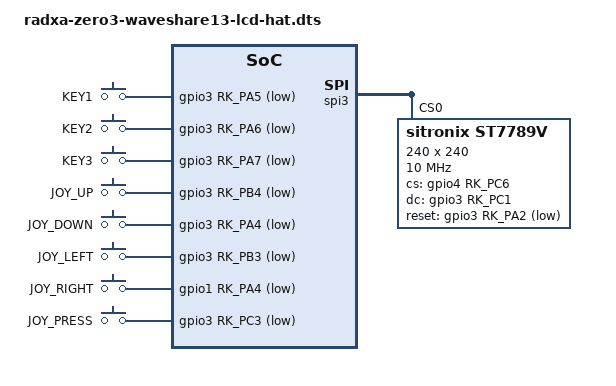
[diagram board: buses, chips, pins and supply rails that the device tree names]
/dts-v1/;
/plugin/;

#include <dt-bindings/gpio/gpio.h>
#include <dt-bindings/pinctrl/rockchip.h>
#include <dt-bindings/interrupt-controller/irq.h>

/ {
	metadata {
		title = "Enable Waveshare 1.3inch LCD HAT";
		compatible = "radxa,zero3";
		category = "misc";
		exclusive = "GPIO4_C3", "GPIO4_C2", "GPIO4_C6", "GPIO3_C1", "GPIO3_B2", "GPIO3_A2", "GPIO3_A5", "GPIO3_A6", "GPIO3_A7", "GPIO3_B4", "GPIO3_A4", "GPIO3_B3", "GPIO1_A4", "GPIO3_C3", "spi3";
		description = "Enable Waveshare 1.3inch LCD HAT.";
	};
};

&spi3{
	status = "okay";
	pinctrl-names = "default", "high_speed";
	pinctrl-0 = <&spi3m1_cs0 &spi3m1_pins>;
	pinctrl-1 = <&spi3m1_cs0 &spi3m1_pins_hs>;

	st7789v@0 {
		compatible = "sitronix,st7789v";
		reg = <0>;
		spi-max-frequency = <10000000>;
		rotate = <270>;
		fps = <60>;
		buswidth = <4>;
		regwidth = <4>;
		width = <240>;
		height = <240>;
		cs-gpio = <&gpio4 RK_PC6 GPIO_ACTIVE_HIGH>;
		dc-gpios = <&gpio3 RK_PC1 GPIO_ACTIVE_HIGH>;
		reset-gpios = <&gpio3 RK_PA2 GPIO_ACTIVE_LOW>;
		debug = <0>;
    };
};

&{/} {
    buttons_joystick {
        compatible = "gpio-keys";
        pinctrl-names = "default";
        pinctrl-0 = <&buttons_joystick_pins>;

        key1 {
            label = "KEY1";
            gpios = <&gpio3 RK_PA5 GPIO_ACTIVE_LOW>;
        };

        key2 {
            label = "KEY2";
            gpios = <&gpio3 RK_PA6 GPIO_ACTIVE_LOW>;
        };

        key3 {
            label = "KEY3";
            gpios = <&gpio3 RK_PA7 GPIO_ACTIVE_LOW>;
        };

        joy_up {
            label = "JOY_UP";
            gpios = <&gpio3 RK_PB4 GPIO_ACTIVE_LOW>;
        };

        joy_down {
            label = "JOY_DOWN";
            gpios = <&gpio3 RK_PA4 GPIO_ACTIVE_LOW>;
        };

        joy_left {
            label = "JOY_LEFT";
            gpios = <&gpio3 RK_PB3 GPIO_ACTIVE_LOW>;
        };

        joy_right {
            label = "JOY_RIGHT";
            gpios = <&gpio1 RK_PA4 GPIO_ACTIVE_LOW>;
        };

        joy_press {
            label = "JOY_PRESS";
            gpios = <&gpio3 RK_PC3 GPIO_ACTIVE_LOW>;
        };
    };
};

&pinctrl {
    buttons_joystick {
        buttons_joystick_pins: buttons-joystick-pins {
            rockchip,pins = 
                <3 RK_PA5 RK_FUNC_GPIO &pcfg_pull_up>,
                <3 RK_PA6 RK_FUNC_GPIO &pcfg_pull_up>,
                <3 RK_PA7 RK_FUNC_GPIO &pcfg_pull_up>,
                <3 RK_PB4 RK_FUNC_GPIO &pcfg_pull_up>,
                <3 RK_PA4 RK_FUNC_GPIO &pcfg_pull_up>,
                <3 RK_PB3 RK_FUNC_GPIO &pcfg_pull_up>,
                <1 RK_PA4 RK_FUNC_GPIO &pcfg_pull_up>,
                <3 RK_PC3 RK_FUNC_GPIO &pcfg_pull_up>;
        };
    };
};
